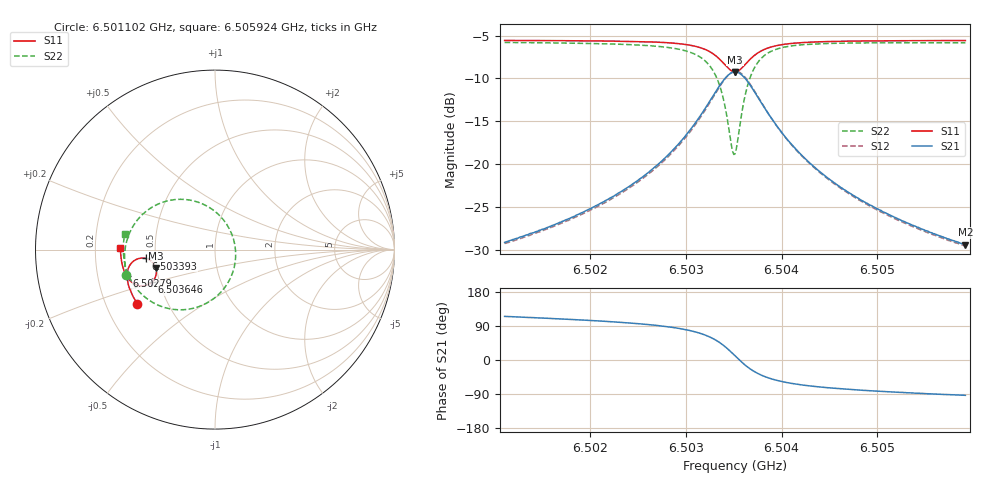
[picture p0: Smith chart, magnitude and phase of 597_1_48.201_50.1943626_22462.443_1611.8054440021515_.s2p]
#  HZ  S  RI  R  50.00
! Rohde & Schwarz Vector Network Analyzer
! Rohde-Schwarz,ZNB20-2Port,1311601062101988,3.16
! Created: UTC 3/20/2024, 12:02:50 PM
! freq[Hz]  re:S11  im:S11  re:S21  im:S21  re:S12  im:S12  re:S22  im:S22
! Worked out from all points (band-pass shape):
!   401 points, 6.501102 GHz to 6.505924 GHz, reference 50 ohm
!   highest |S21| = -9.24 dB at 6.503513 GHz (marker M1); lowest = -29.4 dB at 6.505924 GHz (marker M2)
!   |S21| within 3 dB of the highest: 6.503272 GHz to 6.503755 GHz (482.1 kHz wide, 0.00741 % of centre)
!   lowest |S11| = -9.2 dB at 6.503513 GHz (marker M3), VSWR 2.06, Z = 24.7 - j5.73 ohm
!   |S11| at or under -10 dB: nowhere
!   |S22| runs from -18.9 to -5.8 dB; largest |S21 - S12| = 0.012
!   S11 on the Smith chart (normalised r, x): 6.501102 GHz: 0.34, -0.28; 6.50279 GHz: 0.33, -0.13; 6.503393 GHz: 0.44, -0.05; 6.503646 GHz: 0.45, -0.19; 6.505924 GHz: 0.31, +0.01
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6.501102e9  -0.4329 -0.3007  -0.0147 0.0316  -0.0132 0.0317  -0.4932 -0.1421
6.5019097e9  -0.4667 -0.2396  -0.0138 0.0501  -0.0115 0.0496  -0.5041 -0.0539
6.5023437e9  -0.4816 -0.2003  -0.0108 0.0696  -0.00795 0.0684  -0.4999 0.00974
6.5027175e9  -0.4898 -0.1577  -0.000953 0.1008  0.00256 0.0983  -0.4783 0.0877
6.5027898e9  -0.4902 -0.1477  0.00314 0.1096  0.0066 0.1069  -0.4692 0.1072
6.5029947e9  -0.4862 -0.1142  0.0248 0.144  0.0283 0.1398  -0.4239 0.1751
6.5031515e9  -0.4711 -0.082  0.0651 0.1805  0.0676 0.1748  -0.3457 0.2391
6.5032961e9  -0.4325 -0.0522  0.1482 0.2094  0.1485 0.2035  -0.1944 0.2802
6.5033926e9  -0.385 -0.0496  0.241 0.1925  0.2409 0.1883  -0.0338 0.2362
6.503477e9  -0.3413 -0.0794  0.3205 0.1165  0.3231 0.1131  0.0933 0.0869
6.5035131e9  -0.3302 -0.102  0.3387 0.0671  0.3426 0.0623  0.1145 -0.00641
6.5035372e9  -0.327 -0.1185  0.3421 0.0317  0.3465 0.0256  0.1123 -0.0709
6.5035734e9  -0.3291 -0.1431  0.3344 -0.0194  0.3386 -0.0278  0.0846 -0.1617
6.5036457e9  -0.3518 -0.1811  0.2869 -0.0972  0.2875 -0.1085  -0.0276 -0.2875
6.503694e9  -0.3729 -0.1951  0.2462 -0.1266  0.2439 -0.1379  -0.113 -0.3249
6.5037542e9  -0.3982 -0.202  0.1983 -0.1432  0.1934 -0.1532  -0.2073 -0.335
6.503911e9  -0.4463 -0.1927  0.1128 -0.1393  0.1058 -0.1446  -0.3612 -0.2858
6.5040797e9  -0.4748 -0.1715  0.0663 -0.1178  0.0601 -0.1202  -0.4363 -0.2182
6.5043209e9  -0.4959 -0.1415  0.035 -0.092  0.0303 -0.0927  -0.4809 -0.144
6.5046584e9  -0.5109 -0.1053  0.0164 -0.0689  0.0129 -0.0685  -0.5035 -0.0721
6.5051286e9  -0.5212 -0.0608  0.00524 -0.0503  0.00306 -0.0496  -0.5108 -0.0022
6.5059243e9  -0.5265 0.00747  -0.00189 -0.0338  -0.00329 -0.033  -0.5037 0.0846
